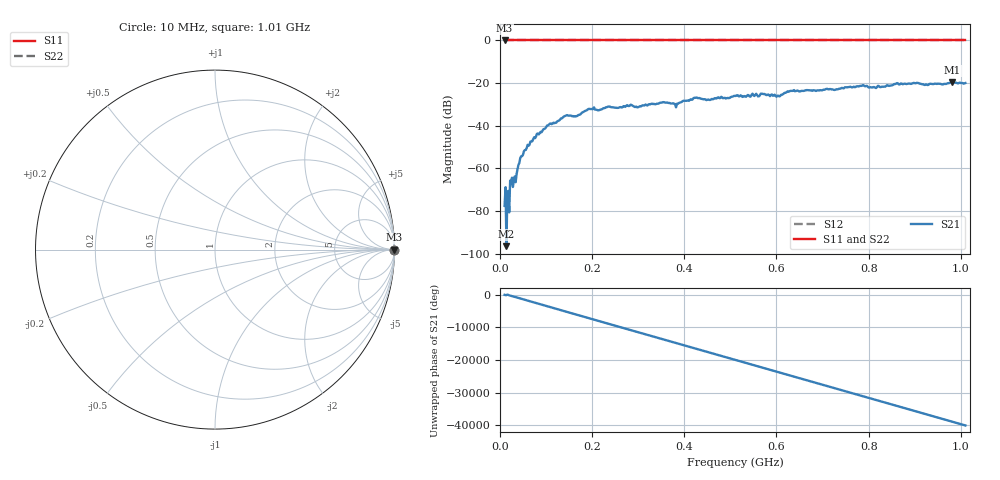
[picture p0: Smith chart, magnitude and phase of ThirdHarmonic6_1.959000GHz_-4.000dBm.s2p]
! 8/16/2025 11:34:37 PM
! C:\ANRITSUVNA\TEMP\TEMP.S2P
! CHANNEL.1
! TR.MEASUREMENT
! RAW.DATA
! RF.CORRECTION.OFF
! AVERAGING.OFF
! IF.BANDWIDTH: 5KHZ
! SWEEPTYPE:  FREQ.SWEEP(Linear)
! Reference Plane Port Info
! PORT:  PORT1  PORT2
! DISTANCE:  0  m  0  m
! TIME:  0  s  0  s
! PHASE.OFFSET:  0  deg.  0  deg.
! LOSS:  0  dB  0  dB
! REF.LOSS:  0  dB  0  dB
! REF.FREQ:  0  Hz  0  Hz
! Power Info
! POWER:  -20  dBm  -20  dBm
! EFF.POWER:  -20  dBm  -20  dBm
! SOURCE.ATTEN:  0  dB  0  dB
! TEST.ATTEN:  0  dB  0  dB
# GHZ S RI R 50.0
! FREQ.GHZ  S11RE  S11IM  S21RE  S21IM  S12RE  S12IM  S22RE  S22IM
!; PortSelection: Port_12
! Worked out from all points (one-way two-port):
!   501 points, 10 MHz to 1.01 GHz, reference 50 ohm
!   highest |S21| = -19.69 dB at 982 MHz (marker M1); lowest = -96.5 dB at 14 MHz (marker M2)
!   lowest |S11| = 0.0 dB at 10 MHz (marker M3)
!   |S11| at or under -10 dB: nowhere
!   |S22| runs from 0.0 to 0.0 dB; largest |S21 - S12| = 1.1
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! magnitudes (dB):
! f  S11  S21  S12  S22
! 10 MHz  0.0  -77.6  0.0  0.0
! 14 MHz  0.0  -96.5  0.0  0.0
! 18 MHz  0.0  -70.6  0.0  0.0
! 26 MHz  0.0  -64.3  0.0  0.0
! 32 MHz  0.0  -63.7  0.0  0.0
! 48 MHz  0.0  -54.2  0.0  0.0
! 78 MHz  0.0  -45.2  0.0  0.0
! 106 MHz  0.0  -39.5  0.0  0.0
! 142 MHz  0.0  -35.4  0.0  0.0
! 178 MHz  0.0  -33.8  0.0  0.0
! 200 MHz  0.0  -32.1  0.0  0.0
! 344 MHz  0.0  -29.6  0.0  0.0
! 382 MHz  0.0  -31.4  0.0  0.0
! 424 MHz  0.0  -26.9  0.0  0.0
! 452 MHz  0.0  -27.7  0.0  0.0
! 510 MHz  0.0  -26.0  0.0  0.0
! 604 MHz  0.0  -25.9  0.0  0.0
! 634 MHz  0.0  -23.7  0.0  0.0
! 678 MHz  0.0  -23.6  0.0  0.0
! 844 MHz  0.0  -21.3  0.0  0.0
! 982 MHz  0.0  -19.7  0.0  0.0
! 1.01 GHz  0.0  -20.0  0.0  0.0
